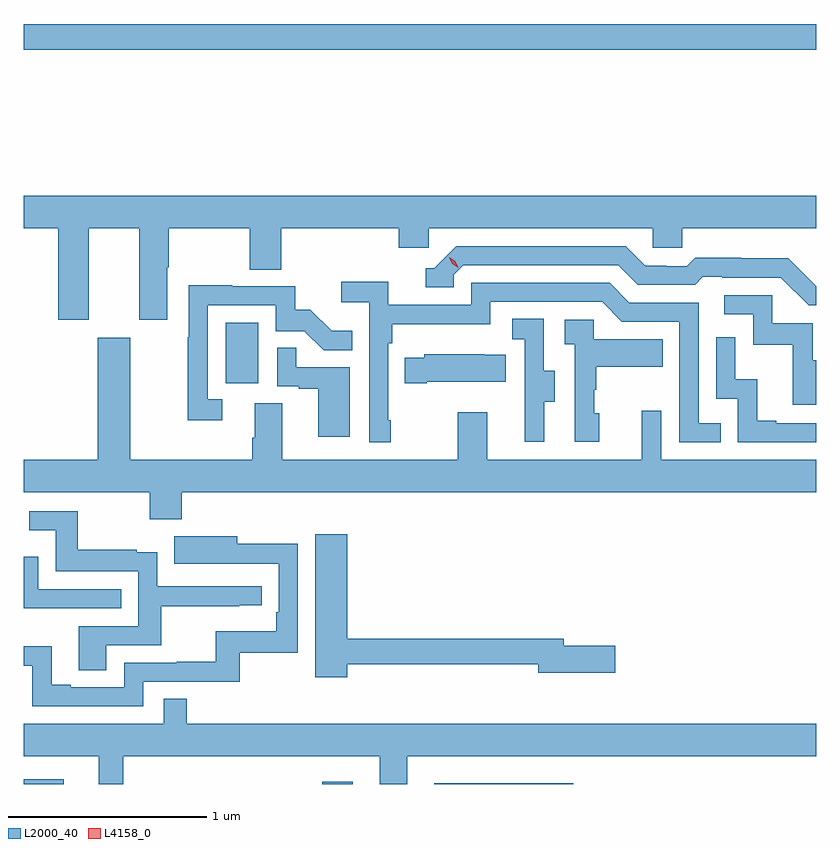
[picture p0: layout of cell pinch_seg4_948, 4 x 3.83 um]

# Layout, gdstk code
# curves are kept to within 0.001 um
import gdstk
lib = gdstk.Library(unit=1e-6, precision=1e-09)
def R(c, l, rs):  # rectangles x0, y0, x1, y1
    for r in rs: c.add(gdstk.rectangle(r[:2], r[2:], *l))
def P(c, l, *ps):  # polygons
    for p in ps: c.add(gdstk.Polygon(p, *l))
L2000_40 = (2000, 40)
L4158_0 = (4158, 0)

pinch_seg4_948 = lib.new_cell('pinch_seg4_948')
R(pinch_seg4_948, L2000_40, [(840.957,772.705,841.159,772.729), (842.465,772.705,842.617,772.717), (843.029,772.705,843.73,772.708), (841.976,774.726,842.14,775.033), (840.957,776.41,844.957,776.539)])
P(pinch_seg4_948, L2000_40, [(841.285,775.508),(841.541,775.508),(841.541,775.047),(841.681,775.047),(841.681,775.312),(841.689,775.312),(841.689,775.508),(842.098,775.508),(842.098,775.3),(842.258,775.3),(842.258,775.508),(842.849,775.508),(842.849,775.41),(843,775.41),(843,775.508),(844.131,775.508),(844.131,775.41),(844.281,775.41),(844.281,775.508),(844.957,775.508),(844.957,775.672),(840.957,775.672),(840.957,775.508),(841.133,775.508),(841.133,775.047),(841.285,775.047)],
  [(844.957,775.215),(844.814,775.357),(844.578,775.357),(844.578,775.36),(844.345,775.36),(844.303,775.317),(844.2,775.317),(844.2,775.32),(844.093,775.32),(843.994,775.419),(843.141,775.419),(843.03,775.308),(842.987,775.308),(842.987,775.212),(843.126,775.212),(843.126,775.275),(843.174,775.323),(843.957,775.323),(844.056,775.224),(844.345,775.224),(844.384,775.263),(844.483,775.263),(844.483,775.26),(844.776,775.26),(844.917,775.119),(844.957,775.119)],
  [(842.809,774.541),(842.796,774.541),(842.796,774.929),(842.816,774.929),(842.816,775.025),(843.312,775.025),(843.312,775.137),(843.876,775.137),(843.975,775.038),(844.266,775.038),(844.266,774.429),(844.475,774.429),(844.475,774.525),(844.362,774.525),(844.362,775.134),(844.012,775.134),(843.913,775.233),(843.216,775.233),(843.216,775.122),(842.798,775.122),(842.798,775.238),(842.559,775.238),(842.559,775.136),(842.7,775.136),(842.7,774.429),(842.809,774.429)],
  [(841.96,774.645),(841.887,774.645),(841.887,775.119),(842.229,775.119),(842.229,774.99),(842.373,774.99),(842.471,774.892),(842.615,774.892),(842.615,774.991),(842.511,774.991),(842.404,775.098),(842.328,775.098),(842.328,775.215),(842.009,775.215),(842.009,775.22),(841.791,775.22),(841.791,774.959),(841.786,774.959),(841.786,774.54),(841.96,774.54)],
  [(844.957,774.843),(844.939,774.843),(844.939,775.029),(844.734,775.029),(844.734,775.17),(844.491,775.17),(844.491,775.074),(844.638,775.074),(844.638,774.921),(844.837,774.921),(844.837,774.618),(844.957,774.618)],
  [(843.583,774.634),(843.637,774.634),(843.637,774.789),(843.582,774.789),(843.582,775.052),(843.423,775.052),(843.423,774.949),(843.486,774.949),(843.486,774.645),(843.485,774.645),(843.485,774.432),(843.583,774.432)],
  [(843.862,774.576),(843.837,774.576),(843.837,774.695),(843.847,774.695),(843.847,774.809),(844.181,774.809),(844.181,774.949),(843.834,774.949),(843.834,775.047),(843.687,775.047),(843.687,774.923),(843.738,774.923),(843.738,774.432),(843.862,774.432)],
  [(844.957,774.525),(844.753,774.525),(844.753,774.538),(844.658,774.538),(844.658,774.746),(844.548,774.746),(844.548,774.958),(844.452,774.958),(844.452,774.648),(844.56,774.648),(844.56,774.429),(844.957,774.429)],
  [(841.754,774.176),(844.957,774.176),(844.957,774.34),(844.173,774.34),(844.173,774.589),(844.076,774.589),(844.076,774.34),(843.295,774.34),(843.295,774.58),(843.148,774.58),(843.148,774.34),(842.263,774.34),(842.263,774.626),(842.123,774.626),(842.123,774.452),(842.111,774.452),(842.111,774.34),(841.495,774.34),(841.495,774.955),(841.331,774.955),(841.331,774.34),(840.957,774.34),(840.957,774.176),(841.594,774.176),(841.594,774.041),(841.754,774.041)],
  [(842.602,774.807),(842.333,774.807),(842.333,774.905),(842.238,774.905),(842.238,774.711),(842.345,774.711),(842.345,774.699),(842.444,774.699),(842.444,774.456),(842.602,774.456)],
  [(842.992,774.734),(843.389,774.734),(843.389,774.871),(843.281,774.871),(843.281,774.874),(842.979,774.874),(842.979,774.856),(842.881,774.856),(842.881,774.727),(842.992,774.727)],
  [(841.375,773.406),(841.652,773.406),(841.652,773.602),(842.045,773.602),(842.045,773.607),(842.158,773.607),(842.158,773.703),(841.632,773.703),(841.632,773.875),(841.529,773.875),(841.529,773.887),(841.231,773.887),(841.231,774.081),(840.985,774.081),(840.985,773.984),(841.12,773.984),(841.12,773.778),(841.536,773.778),(841.536,773.502),(841.235,773.502),(841.235,773.278),(841.375,773.278)],
  [(842.59,773.31),(843.554,773.31),(843.554,773.267),(843.943,773.267),(843.943,773.402),(843.682,773.402),(843.682,773.438),(842.59,773.438),(842.59,773.965),(842.429,773.965),(842.429,773.244),(842.59,773.244)],
  [(841.56,773.22),(842.047,773.22),(842.047,773.367),(842.34,773.367),(842.34,773.918),(842.035,773.918),(842.035,773.956),(841.717,773.956),(841.717,773.816),(841.931,773.816),(841.931,773.817),(842.244,773.817),(842.244,773.572),(842.231,773.572),(842.231,773.476),(841.926,773.476),(841.926,773.321),(841.729,773.321),(841.729,773.316),(841.464,773.316),(841.464,773.193),(841.195,773.193),(841.195,773.206),(841.099,773.206),(841.099,773.399),(840.957,773.399),(840.957,773.301),(841.002,773.301),(841.002,773.097),(841.56,773.097)],
  [(841.451,773.688),(841.032,773.688),(841.032,773.851),(840.957,773.851),(840.957,773.592),(841.451,773.592)],
  [(841.459,772.844),(842.753,772.844),(842.753,772.705),(842.893,772.705),(842.893,772.844),(844.957,772.844),(844.957,773.008),(841.781,773.008),(841.781,773.135),(841.665,773.135),(841.665,773.008),(840.957,773.008),(840.957,772.844),(841.337,772.844),(841.337,772.705),(841.459,772.705)])
P(pinch_seg4_948, L4158_0, [(843.15,775.31),(843.12,775.329),(843.104,775.362),(843.104,775.362),(843.104,775.362),(843.135,775.342),(843.15,775.31),(843.15,775.31)])

lib.write_gds('pinch_seg4_948.gds')
